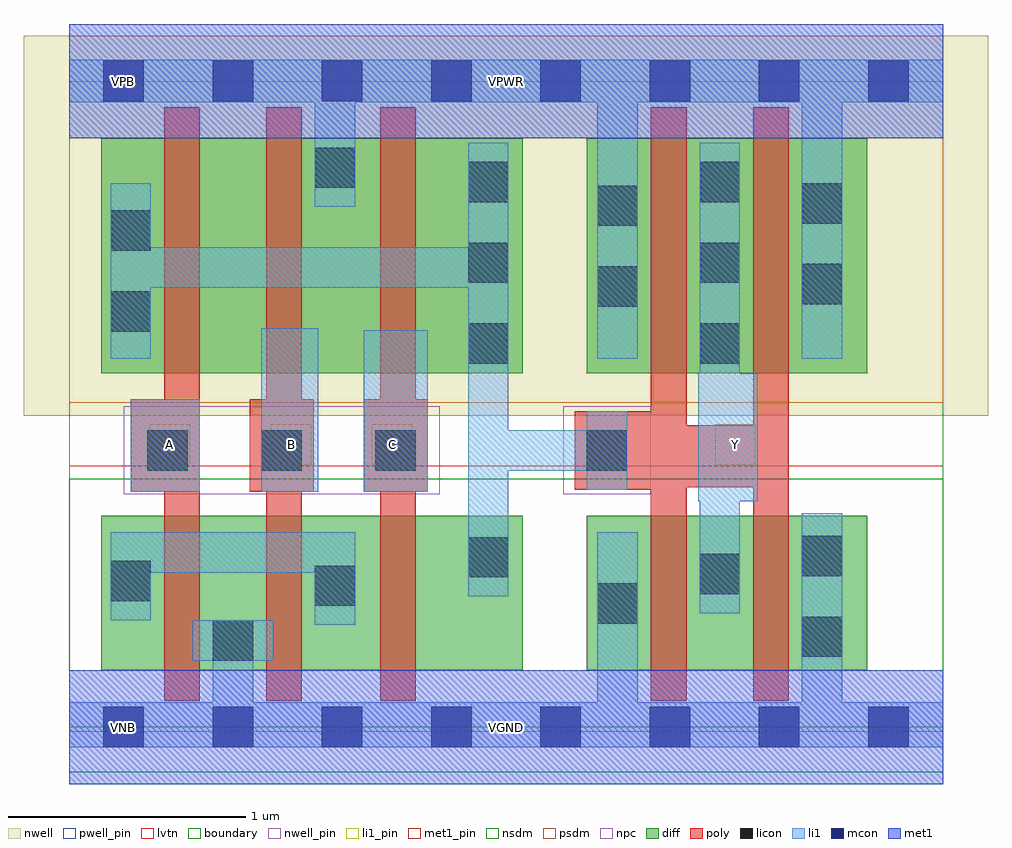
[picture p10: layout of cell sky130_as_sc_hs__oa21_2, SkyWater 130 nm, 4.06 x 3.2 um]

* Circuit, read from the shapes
.subckt sky130_as_sc_hs__oa21_2 A B C VGND VNB VPB VPWR Y
XM1 VGND A n1 VNB sky130_fd_pr__nfet_01v8_lvt w=0.65 l=0.15
XM2 n1 B VGND VNB sky130_fd_pr__nfet_01v8_lvt w=0.65 l=0.15
XM3 n2 C n1 VNB sky130_fd_pr__nfet_01v8_lvt w=0.65 l=0.15
XM4 Y n2 VGND VNB sky130_fd_pr__nfet_01v8_lvt w=0.65 l=0.15 m=2
XM5 n3 A n2 VPB sky130_fd_pr__pfet_01v8 w=0.99 l=0.15
XM6 VPWR B n3 VPB sky130_fd_pr__pfet_01v8 w=0.99 l=0.15
XM7 n2 C VPWR VPB sky130_fd_pr__pfet_01v8 w=0.99 l=0.15
XM8 Y n2 VPWR VPB sky130_fd_pr__pfet_01v8 w=0.99 l=0.15 m=2
.ends

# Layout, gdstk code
import gdstk
lib = gdstk.Library(unit=1e-6, precision=1e-09)
def R(c, l, rs):  # rectangles x0, y0, x1, y1
    for r in rs: c.add(gdstk.rectangle(r[:2], r[2:], *l))
def A(c, l, x, y, w, h, nx, ny, dx, dy):  # array of equal rectangles
    R(c, l, [(x+i*dx, y+j*dy, x+i*dx+w, y+j*dy+h) for i in range(nx) for j in range(ny)])
nwell_pin = (64, 16)
nwell = (64, 20)
diff = (65, 20)
poly = (66, 20)
licon = (66, 44)
li1_pin = (67, 16)
li1 = (67, 20)
mcon = (67, 44)
met1_pin = (68, 16)
met1 = (68, 20)
nsdm = (93, 44)
psdm = (94, 20)
npc = (95, 20)
pwell_pin = (122, 16)
lvtn = (125, 44)
boundary = (235, 4)

sky130_as_sc_hs__oa21_2 = lib.new_cell('sky130_as_sc_hs__oa21_2')
R(sky130_as_sc_hs__oa21_2, nwell_pin, [(0.145,2.635,0.315,2.805)])
R(sky130_as_sc_hs__oa21_2, nwell, [(-0.19,1.31,3.87,2.91)])
R(sky130_as_sc_hs__oa21_2, diff, [(0.135,0.24,1.91,0.89), (2.18,0.24,3.36,0.89), (0.135,1.49,1.91,2.48), (2.18,1.49,3.36,2.48)])
R(sky130_as_sc_hs__oa21_2, poly, [(0.4,0.11,0.55,0.99), (0.83,0.11,0.98,0.99), (1.31,0.11,1.46,0.99), (2.45,0.11,2.6,1), (2.88,0.11,3.03,1.01), (0.26,0.99,0.55,1.38), (0.76,0.99,1.03,1.38), (1.24,0.99,1.51,1.38), (2.13,1,2.6,1.01), (2.13,1.01,3.03,1.27), (2.13,1.27,2.6,1.33), (2.88,1.27,3.03,2.61), (2.45,1.33,2.6,2.61), (0.4,1.38,0.55,2.61), (0.83,1.38,0.98,2.61), (1.31,1.38,1.46,2.61)])
A(sky130_as_sc_hs__oa21_2, licon, 0.33, 1.08, 0.17, 0.17, 3, 1, 0.48, 0)
A(sky130_as_sc_hs__oa21_2, licon, 1.68, 1.53, 0.17, 0.17, 1, 3, 0, 0.34)
A(sky130_as_sc_hs__oa21_2, licon, 2.655, 1.53, 0.17, 0.17, 1, 3, 0, 0.34)
R(sky130_as_sc_hs__oa21_2, licon, [(0.605,0.28,0.775,0.45), (3.085,0.295,3.255,0.465), (2.225,0.435,2.395,0.605), (1.035,0.51,1.205,0.68), (0.175,0.53,0.345,0.7), (2.655,0.56,2.825,0.73), (1.68,0.63,1.85,0.8), (3.085,0.635,3.255,0.805), (2.18,1.08,2.35,1.25), (0.175,1.665,0.345,1.835), (2.225,1.77,2.395,1.94), (3.085,1.78,3.255,1.95), (0.175,2.005,0.345,2.175), (2.225,2.11,2.395,2.28), (3.085,2.12,3.255,2.29), (1.035,2.27,1.205,2.44)])
R(sky130_as_sc_hs__oa21_2, li1_pin, [(0.34,1.105,0.51,1.275), (0.85,1.105,1.02,1.275), (1.275,1.105,1.445,1.275), (2.72,1.105,2.89,1.275)])
R(sky130_as_sc_hs__oa21_2, li1, [(0,-0.085,3.68,0.105), (0.605,0.105,0.775,0.28), (2.225,0.105,2.395,0.82), (3.085,0.105,3.255,0.9), (0.52,0.28,0.86,0.45), (1.035,0.43,1.205,0.65), (0.175,0.45,0.345,0.65), (2.655,0.48,2.825,0.95), (1.68,0.55,1.85,1.08), (0.175,0.65,1.205,0.82), (2.65,0.95,2.9,1.49), (0.26,0.99,0.55,1.38), (0.81,0.99,1.05,1.68), (1.24,0.99,1.51,1.67), (2.18,1,2.35,1.08), (1.68,1.08,2.35,1.25), (1.68,1.25,1.85,1.85), (2.18,1.25,2.35,1.33), (2.655,1.49,2.825,2.46), (0.175,1.55,0.345,1.85), (2.225,1.55,2.395,2.63), (3.085,1.55,3.255,2.63), (0.175,1.85,1.85,2.02), (0.175,2.02,0.345,2.29), (1.68,2.02,1.85,2.46), (1.035,2.19,1.205,2.63), (0,2.63,3.68,2.81)])
A(sky130_as_sc_hs__oa21_2, mcon, 0.145, -0.085, 0.17, 0.17, 8, 2, 0.46, 2.72)
R(sky130_as_sc_hs__oa21_2, met1_pin, [(0,-0.24,3.68,0.24), (0.145,-0.085,0.315,0.085), (0,2.48,3.68,2.96), (0.145,2.635,0.315,2.805)])
R(sky130_as_sc_hs__oa21_2, met1, [(0,-0.24,3.68,0.24), (0,2.48,3.68,2.96)])
R(sky130_as_sc_hs__oa21_2, nsdm, [(0,-0.19,3.68,1.045)])
R(sky130_as_sc_hs__oa21_2, psdm, [(0,1.365,3.68,2.91)])
R(sky130_as_sc_hs__oa21_2, npc, [(0.23,0.98,1.56,1.35), (2.08,0.98,2.45,1.35)])
R(sky130_as_sc_hs__oa21_2, pwell_pin, [(0.145,-0.085,0.315,0.085)])
R(sky130_as_sc_hs__oa21_2, lvtn, [(0,-0.02,3.68,1.1)])
R(sky130_as_sc_hs__oa21_2, boundary, [(0,0,3.68,2.72)])
sky130_as_sc_hs__oa21_2.add(gdstk.Label('VNB', (0.23,0), layer=64, texttype=59))
sky130_as_sc_hs__oa21_2.add(gdstk.Label('VNB', (0.23,0), layer=64, texttype=59))
sky130_as_sc_hs__oa21_2.add(gdstk.Label('VPB', (0.23,2.72), layer=64, texttype=5))
sky130_as_sc_hs__oa21_2.add(gdstk.Label('VPB', (0.23,2.72), layer=64, texttype=5))
sky130_as_sc_hs__oa21_2.add(gdstk.Label('A', (0.425,1.19), layer=67, texttype=5))
sky130_as_sc_hs__oa21_2.add(gdstk.Label('B', (0.935,1.19), layer=67, texttype=5))
sky130_as_sc_hs__oa21_2.add(gdstk.Label('C', (1.36,1.19), layer=67, texttype=5))
sky130_as_sc_hs__oa21_2.add(gdstk.Label('Y', (2.805,1.19), layer=67, texttype=5))
sky130_as_sc_hs__oa21_2.add(gdstk.Label('A', (0.425,1.19), layer=67, texttype=5))
sky130_as_sc_hs__oa21_2.add(gdstk.Label('B', (0.935,1.19), layer=67, texttype=5))
sky130_as_sc_hs__oa21_2.add(gdstk.Label('C', (1.36,1.19), layer=67, texttype=5))
sky130_as_sc_hs__oa21_2.add(gdstk.Label('Y', (2.805,1.19), layer=67, texttype=5))
sky130_as_sc_hs__oa21_2.add(gdstk.Label('VPWR', (1.84,2.72), layer=68, texttype=5))
sky130_as_sc_hs__oa21_2.add(gdstk.Label('VPWR', (0.23,2.72), layer=68, texttype=5))
sky130_as_sc_hs__oa21_2.add(gdstk.Label('VGND', (1.84,0), layer=68, texttype=5))
sky130_as_sc_hs__oa21_2.add(gdstk.Label('VGND', (0.23,0), layer=68, texttype=5))

lib.write_gds('sky130_as_sc_hs__oa21_2.gds')
